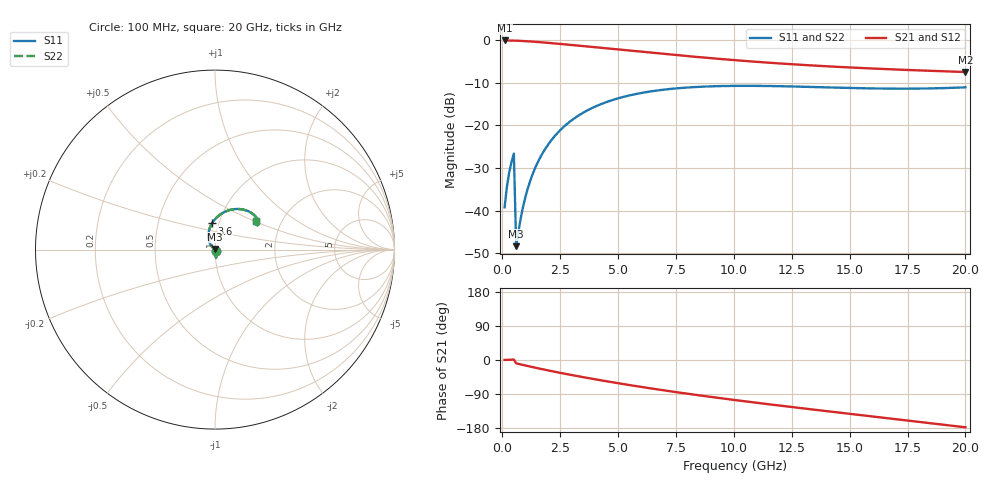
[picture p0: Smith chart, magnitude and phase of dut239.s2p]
! Created with skrf 1.9.0 (http://scikit-rf.org).
# GHz S RI R 50.0
!freq ReS11 ImS11 ReS21 ImS21 ReS12 ImS12 ReS22 ImS22
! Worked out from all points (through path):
!   200 points, 100 MHz to 20 GHz, reference 50 ohm
!   highest |S21| = -0.06 dB at 100 MHz (marker M1); lowest = -7.5 dB at 20 GHz (marker M2)
!   group delay of S21, straight-line fit = 23.5 ps
!   lowest |S11| = -48.3 dB at 600 MHz (marker M3), VSWR 1.01, Z = 49.9 + j0.356 ohm
!   |S11| at or under -10 dB: start of sweep to end of sweep
!   |S22| runs from -48.3 to -10.7 dB; largest |S21 - S12| = 2.3e-15
!   S11 on the Smith chart (normalised r, x): 100 MHz: 1.01, -0.02; 3.6 GHz: 0.93, +0.28; 20 GHz: 1.49, +0.51
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0.1  0.00655 -0.00878  0.9931 0.0028  0.9931 0.0028  0.00655 -0.00878
0.2  0.00683 -0.0179  0.9919 0.00605  0.9919 0.00605  0.00683 -0.0179
0.3  0.00685 -0.0274  0.9904 0.00972  0.9904 0.00972  0.00685 -0.0274
0.4  0.00653 -0.0369  0.9886 0.0136  0.9886 0.0136  0.00653 -0.0369
0.5  0.0059 -0.0463  0.9866 0.0178  0.9866 0.0178  0.0059 -0.0463
0.6  -0.00141 0.00357  0.9757 -0.1524  0.9757 -0.1524  -0.00141 0.00357
0.8  -0.00572 0.00595  0.9613 -0.1996  0.9613 -0.1996  -0.00572 0.00595
1  -0.0108 0.00977  0.9437 -0.2448  0.9437 -0.2448  -0.0108 0.00977
1.3  -0.0189 0.0184  0.9123 -0.3081  0.9123 -0.3081  -0.0189 0.0184
1.6  -0.0264 0.0304  0.8761 -0.3657  0.8761 -0.3657  -0.0264 0.0304
2  -0.0337 0.0505  0.8227 -0.4334  0.8227 -0.4334  -0.0337 0.0505
2.4  -0.0366 0.0739  0.7653 -0.4914  0.7653 -0.4914  -0.0366 0.0739
2.9  -0.0334 0.1047  0.6905 -0.5515  0.6905 -0.5515  -0.0334 0.1047
3.5  -0.0201 0.1401  0.599 -0.6074  0.599 -0.6074  -0.0201 0.1401
3.6  -0.017 0.1456  0.5837 -0.6151  0.5837 -0.6151  -0.017 0.1456
5  0.0419 0.2037  0.375 -0.6832  0.375 -0.6832  0.0419 0.2037
6.8  0.1271 0.2263  0.1395 -0.6845  0.1395 -0.6845  0.1271 0.2263
8.4  0.1852 0.2139  -0.0268 -0.6359  -0.0268 -0.6359  0.1852 0.2139
10.1  0.2226 0.1881  -0.1612 -0.5588  -0.1612 -0.5588  0.2226 0.1881
13.4  0.2425 0.1454  -0.3288 -0.3834  -0.3288 -0.3834  0.2425 0.1454
16.7  0.2332 0.1368  -0.4107 -0.1994  -0.4107 -0.1994  0.2332 0.1368
20  0.2309 0.1584  -0.4232 -0.0179  -0.4232 -0.0179  0.2309 0.1584
